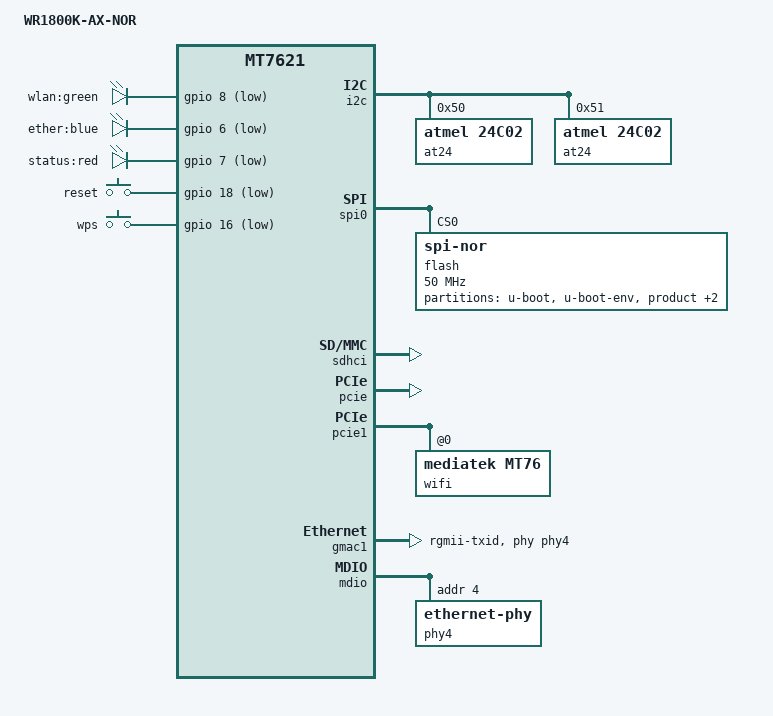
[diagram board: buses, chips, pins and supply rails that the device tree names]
/dts-v1/;

#include "mt7621.dtsi"

#include <dt-bindings/gpio/gpio.h>
#include <dt-bindings/input/input.h>

/ {
	compatible = "xwrt,wr1800k-ax-nor", "mediatek,mt7621-soc";
	model = "WR1800K-AX-NOR";

	aliases {
		led-boot = &led_status;
		led-failsafe = &led_status;
		led-running = &led_status;
		led-upgrade = &led_status;
		label-mac-device = &gmac1;
	};

	chosen {
		bootargs = "console=ttyS0,115200";
	};

	leds {
		compatible = "gpio-leds";

		led_wlan: wlan {
			label = "wlan:green";
			gpios = <&gpio 8 GPIO_ACTIVE_LOW>;
			default-state = "off";
		};

		led_ether: ether {
			label = "ether:blue";
			gpios = <&gpio 6 GPIO_ACTIVE_LOW>;
			default-state = "off";
		};

		led_status: status {
			label = "status:red";
			gpios = <&gpio 7 GPIO_ACTIVE_LOW>;
		};
	};

	keys {
		compatible = "gpio-keys";

		reset {
			label = "reset";
			gpios = <&gpio 18 GPIO_ACTIVE_LOW>;
			linux,code = <KEY_RESTART>;
		};

		wps {
			label = "wps";
			gpios = <&gpio 16 GPIO_ACTIVE_LOW>;
			linux,code = <KEY_WPS_BUTTON>;
		};
	};
};

&i2c {
	status = "okay";

	at24@50 {
		compatible = "atmel,24c02";
		reg = <0x50>;
		pagesize = <16>;
	};

	at24@51 {
		compatible = "atmel,24c02";
		reg = <0x51>;
		pagesize = <16>;
	};
};

&spi0 {
	status = "okay";

	flash@0 {
		compatible = "jedec,spi-nor";
		reg = <0>;
		spi-max-frequency = <50000000>;

		partitions {
			compatible = "fixed-partitions";
			#address-cells = <1>;
			#size-cells = <1>;

			partition@0 {
				label = "u-boot";
				reg = <0x0 0x30000>;
			};

			partition@30000 {
				label = "u-boot-env";
				reg = <0x30000 0x10000>;
			};

			partition@40000 {
				label = "product";
				reg = <0x40000 0x10000>;
			};

			factory: partition@50000 {
				label = "factory";
				reg = <0x50000 0x40000>;
			};

			partition@90000 {
				compatible = "denx,uimage";
				label = "firmware";
				reg = <0x90000 0xf70000>;
			};
		};
	};
};

&sdhci {
	status = "okay";
};

&xhci {
	status = "disabled";
};

&pcie {
	status = "okay";
};

&pcie1 {
	wifi@0,0 {
		compatible = "mediatek,mt76";
		reg = <0x0000 0 0 0 0>;
		mediatek,mtd-eeprom = <&factory 0x0000>;
		mtd-mac-address = <&factory 0x4>;
		nvmem-cells = <&macaddr_factory_4>;
		nvmem-cell-names = "mac-address";
		mediatek,disable-radar-background;
	};
};

&ethernet {
	pinctrl-names = "default";
	pinctrl-0 = <&rgmii1_pins &rgmii2_pins &mdio_pins>;
};

&gmac0 {
	nvmem-cells = <&macaddr_factory_4>;
	nvmem-cell-names = "mac-address";
	mtd-mac-address = <&factory 0x4>;
	mac-address-increment = <(-1)>;
};

&gmac1 {
	status = "okay";
	label = "wan";
	nvmem-cells = <&macaddr_factory_4>;
	nvmem-cell-names = "mac-address";
	mtd-mac-address = <&factory 0x4>;
	mac-address-increment = <(-2)>;
	phy-mode = "rgmii-txid";
	phy-handle = <&phy4>;
};

&mdio {
	phy4: ethernet-phy@4 {
		reg = <4>;
	};
};

&switch0 {
	ports {
		port@1 {
			status = "okay";
			label = "lan1";
		};

		port@2 {
			status = "okay";
			label = "lan2";
		};

		port@3 {
			status = "okay";
			label = "lan3";
		};
	};
};

&state_default {
	gpio {
		groups = "uart2", "uart3";
		function = "gpio";
	};
};

&factory {
	compatible = "nvmem-cells";
	#address-cells = <1>;
	#size-cells = <1>;

	macaddr_factory_4: macaddr@4 {
		reg = <0x4 0x6>;
	};
};
